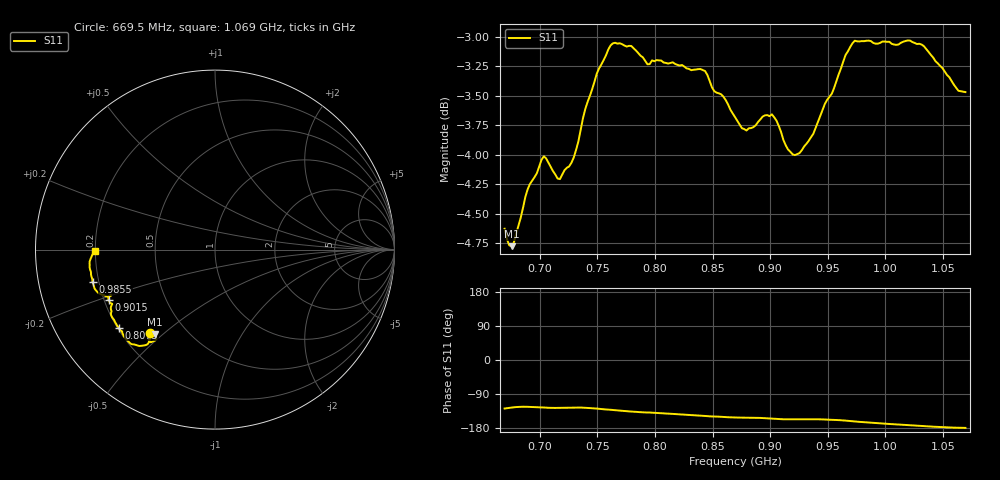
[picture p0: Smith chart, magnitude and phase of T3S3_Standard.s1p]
#  HZ  S  RI  R  50.00
! Rohde & Schwarz Vector Network Analyzer
! Rohde-Schwarz,ZNB8-2Port,1311601042102944,2.30
! Created: UTC 3/16/2026, 1:13:16 PM
! freq[Hz]  re:S22  im:S22
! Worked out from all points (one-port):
!   201 points, 669.5 MHz to 1.069 GHz, reference 50 ohm
!   lowest |S11| = -4.8 dB at 675.5 MHz (marker M1), VSWR 3.73, Z = 16.6 - j23.4 ohm
!   |S11| at or under -10 dB: nowhere
!   S11 on the Smith chart (normalised r, x): 669.5 MHz: 0.32, -0.45; 807.5 MHz: 0.21, -0.34; 901.5 MHz: 0.22, -0.21; 985.5 MHz: 0.18, -0.13; 1.069 GHz: 0.20, -0.01
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6.695e8  -0.3618 -0.4625
6.755e8  -0.3355 -0.4698
6.815e8  -0.3276 -0.4893
6.895e8  -0.3376 -0.5082
7.055e8  -0.3683 -0.5098
7.155e8  -0.3657 -0.4965
7.195e8  -0.363 -0.5013
7.335e8  -0.3709 -0.5205
7.495e8  -0.4218 -0.537
7.635e8  -0.4689 -0.5244
7.695e8  -0.4858 -0.5088
7.915e8  -0.5171 -0.4591
8.075e8  -0.5361 -0.4351
8.195e8  -0.5505 -0.4141
8.455e8  -0.5798 -0.3593
8.695e8  -0.5764 -0.3105
8.795e8  -0.5704 -0.3036
9.015e8  -0.5932 -0.281
9.115e8  -0.5868 -0.256
9.195e8  -0.5782 -0.2536
9.335e8  -0.5855 -0.2576
9.455e8  -0.6058 -0.2602
9.595e8  -0.6355 -0.249
9.695e8  -0.663 -0.2274
9.855e8  -0.6817 -0.181
1.0195e9  -0.698 -0.1021
1.0515e9  -0.6838 -0.0289
1.0695e9  -0.6707 -0.0103
